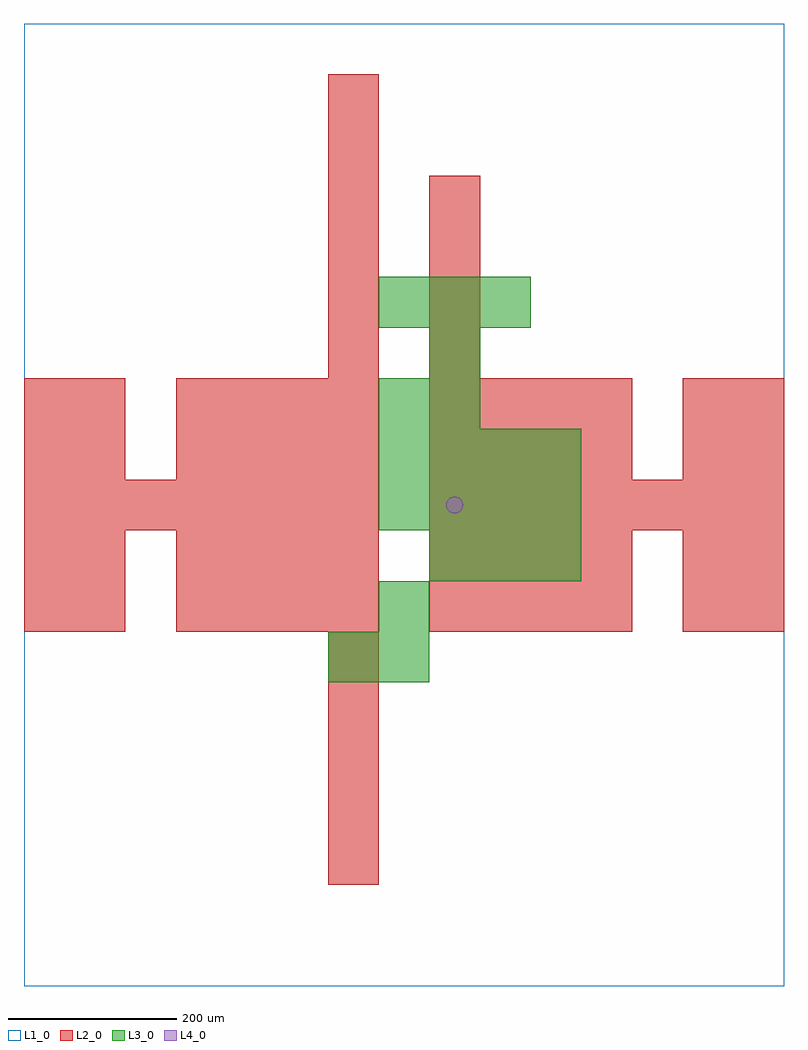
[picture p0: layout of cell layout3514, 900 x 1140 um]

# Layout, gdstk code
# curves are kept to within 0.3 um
import gdstk
lib = gdstk.Library(unit=1e-6, precision=1e-09)
def R(c, l, rs):  # rectangles x0, y0, x1, y1
    for r in rs: c.add(gdstk.rectangle(r[:2], r[2:], *l))
def A(c, l, x, y, w, h, nx, ny, dx, dy):  # array of equal rectangles
    R(c, l, [(x+i*dx, y+j*dy, x+i*dx+w, y+j*dy+h) for i in range(nx) for j in range(ny)])
def P(c, l, *ps):  # polygons
    for p in ps: c.add(gdstk.Polygon(p, *l))
L1_0 = (1, 0)
L2_0 = (2, 0)
L3_0 = (3, 0)
L4_0 = (4, 0)

layout3514 = lib.new_cell('layout3514')
R(layout3514, L1_0, [(0,0,900,1140)])
A(layout3514, L2_0, 360, 120, 60, 60, 1, 5, 0, 60)
A(layout3514, L2_0, 180, 420, 60, 60, 4, 2, 60, 60)
A(layout3514, L2_0, 480, 420, 60, 60, 4, 2, 60, 60)
A(layout3514, L2_0, 0, 540, 60, 60, 7, 1, 60, 0)
A(layout3514, L2_0, 480, 540, 60, 60, 7, 1, 60, 0)
A(layout3514, L2_0, 180, 600, 60, 60, 4, 2, 60, 60)
A(layout3514, L2_0, 480, 600, 60, 60, 4, 2, 60, 60)
A(layout3514, L2_0, 360, 720, 60, 60, 1, 6, 0, 60)
A(layout3514, L2_0, 480, 720, 60, 60, 1, 4, 0, 60)
R(layout3514, L2_0, [(0,420,60,480), (60,420,120,480), (780,420,840,480), (840,420,900,480), (0,480,60,540), (60,480,120,540), (780,480,840,540), (840,480,900,540), (0,600,60,660), (60,600,120,660), (780,600,840,660), (840,600,900,660), (0,660,60,720), (60,660,120,720), (780,660,840,720), (840,660,900,720)])
A(layout3514, L3_0, 480, 480, 60, 60, 3, 1, 60, 0)
A(layout3514, L3_0, 420, 540, 60, 60, 4, 2, 60, 60)
A(layout3514, L3_0, 420, 780, 60, 60, 3, 1, 60, 0)
R(layout3514, L3_0, [(360,360,420,420), (420,360,480,420), (420,420,480,480), (420,660,480,720), (480,660,540,720), (480,720,540,780)])
P(layout3514, L4_0, [(520,570),(519.239,573.827),(517.071,577.071),(513.827,579.239),(510,580),(506.173,579.239),(502.929,577.071),(500.761,573.827),(500,570),(500.761,566.173),(502.929,562.929),(506.173,560.761),(510,560),(513.827,560.761),(517.071,562.929),(519.239,566.173)])

lib.write_gds('layout3514.gds')
